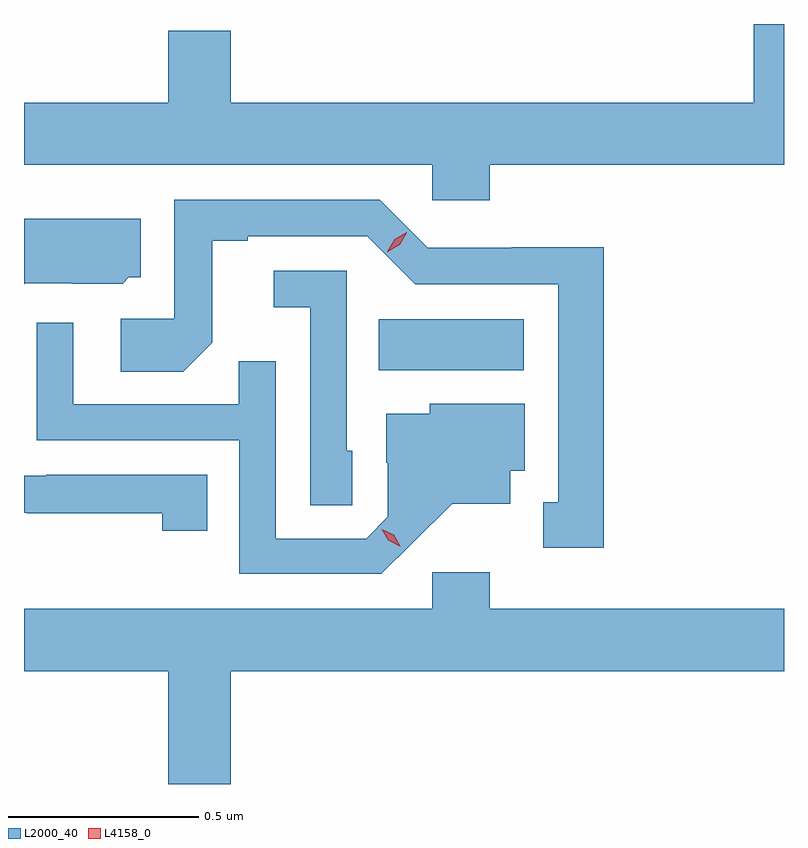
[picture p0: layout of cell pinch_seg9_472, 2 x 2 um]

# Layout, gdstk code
import gdstk
lib = gdstk.Library(unit=1e-6, precision=1e-09)
def R(c, l, rs):  # rectangles x0, y0, x1, y1
    for r in rs: c.add(gdstk.rectangle(r[:2], r[2:], *l))
def P(c, l, *ps):  # polygons
    for p in ps: c.add(gdstk.Polygon(p, *l))
L2000_40 = (2000, 40)
L4158_0 = (4158, 0)

pinch_seg9_472 = lib.new_cell('pinch_seg9_472')
R(pinch_seg9_472, L2000_40, [(249.478,1181.228,249.859,1181.362)])
P(pinch_seg9_472, L2000_40, [(249.77,1181.768),(250.544,1181.768),(250.544,1182.139),(250.465,1182.139),(250.465,1181.932),(249.088,1181.932),(249.088,1182.121),(248.924,1182.121),(248.924,1181.932),(248.544,1181.932),(248.544,1181.768),(249.618,1181.768),(249.618,1181.675),(249.77,1181.675)],
  [(250.069,1181.552),(249.828,1181.552),(249.828,1181.55),(249.606,1181.55),(249.48,1181.676),(248.94,1181.676),(248.94,1181.364),(248.799,1181.364),(248.799,1181.224),(248.963,1181.224),(249.039,1181.3),(249.039,1181.568),(249.133,1181.568),(249.133,1181.58),(249.447,1181.58),(249.573,1181.454),(249.95,1181.454),(249.95,1180.881),(249.911,1180.881),(249.911,1180.761),(250.069,1180.761)],
  [(248.547,1181.457),(248.67,1181.457),(248.67,1181.456),(248.804,1181.456),(248.82,1181.472),(248.851,1181.472),(248.851,1181.626),(248.544,1181.626),(248.544,1181.454)],
  [(249.408,1181.016),(249.393,1181.016),(249.393,1181.49),(249.201,1181.49),(249.201,1181.393),(249.297,1181.393),(249.297,1180.873),(249.408,1180.873)],
  [(249.568,1180.775),(249.671,1180.877),(249.823,1180.877),(249.823,1180.964),(249.862,1180.964),(249.862,1181.14),(249.612,1181.14),(249.612,1181.113),(249.497,1181.113),(249.497,1180.984),(249.501,1180.984),(249.501,1180.842),(249.444,1180.785),(249.207,1180.785),(249.207,1181.252),(249.109,1181.252),(249.109,1181.139),(248.673,1181.139),(248.673,1181.353),(248.577,1181.353),(248.577,1181.043),(249.111,1181.043),(249.111,1180.692),(249.484,1180.692)],
  [(249.026,1180.953),(248.602,1180.953),(248.602,1180.95),(248.544,1180.95),(248.544,1180.853),(248.551,1180.853),(248.551,1180.852),(248.908,1180.852),(248.908,1180.806),(249.026,1180.806)],
  [(249.088,1180.436),(250.544,1180.436),(250.544,1180.6),(249.77,1180.6),(249.77,1180.696),(249.618,1180.696),(249.618,1180.6),(248.544,1180.6),(248.544,1180.436),(248.924,1180.436),(248.924,1180.139),(249.088,1180.139)])
P(pinch_seg9_472, L4158_0, [(249.5,1181.54),(249.5,1181.54),(249.519,1181.572),(249.551,1181.591),(249.551,1181.591),(249.551,1181.59),(249.533,1181.558),(249.501,1181.54)],
  [(249.533,1180.765),(249.503,1180.78),(249.486,1180.81),(249.486,1180.81),(249.486,1180.81),(249.517,1180.795),(249.534,1180.765),(249.534,1180.765)])

lib.write_gds('pinch_seg9_472.gds')
